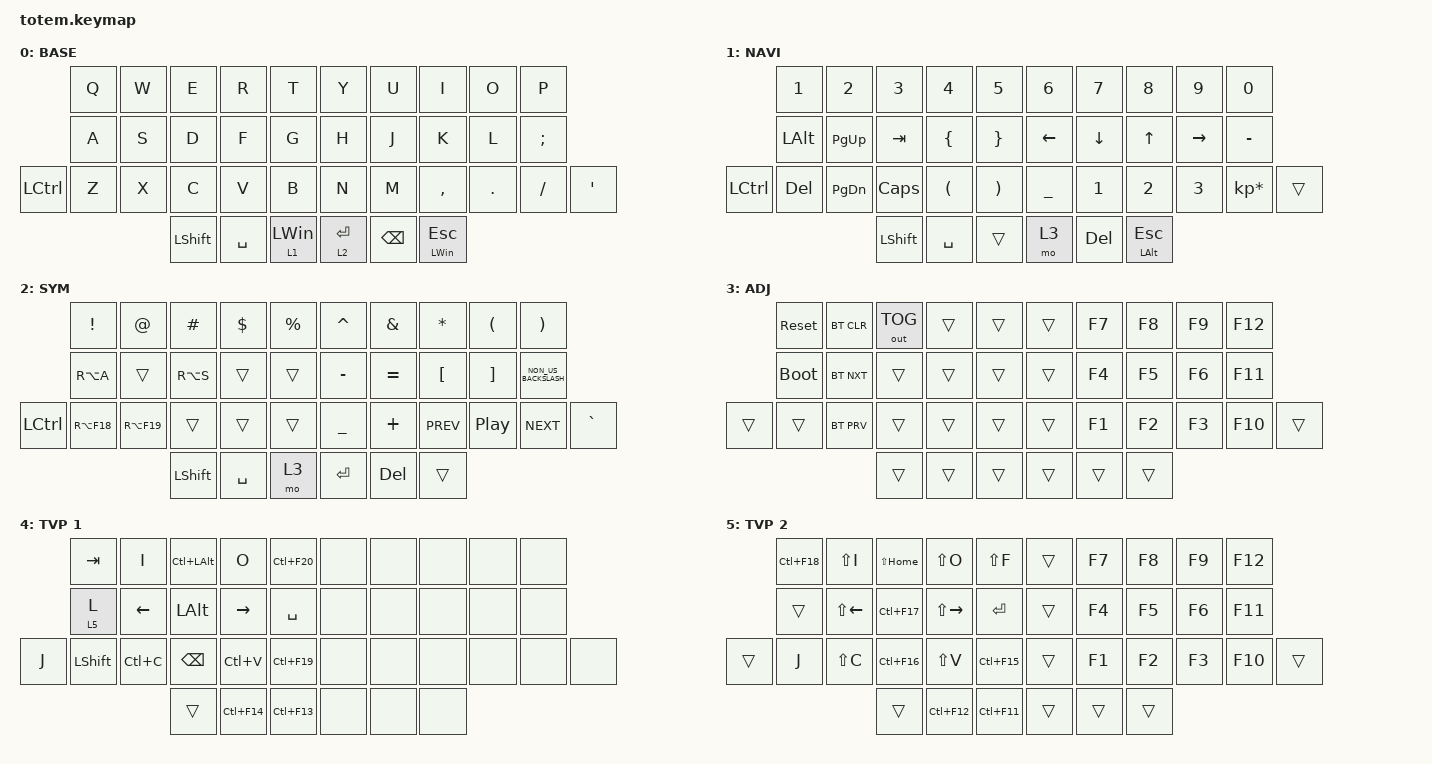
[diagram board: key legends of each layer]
//
//                                                        ▀▀▀▀▀     ▀▀▀▀▀          ▀▀█▀▀
//                                                        ▄▀▀▀▄  ▄  ▄▀▀▀▄  ▄  ▄▀▀▀▄  █  ▄▀▀▀▄
//                                                        █   █  █  █   █  █  █   █  █  █   █
//                                                         ▀▀▀   █   ▀▀▀   █   ▀▀▀   ▀   ▀▀▀
//                                                               █      ▄▄▄█▄▄▄    █   █  
//                                                               ▀      █  █  █     █▄█
//                                                             ▀▀▀▀▀    █  █  █      ▀
//                                                                      ▀  ▀  ▀
//
// ▄▄▄▄▄▄▄▄▄▄▄▄▄▄▄▄▄▄▄▄▄▄▄▄▄▄▄▄▄▄▄▄▄▄▄▄▄▄▄▄▄▄▄▄▄▄▄▄▄▄▄▄▄▄▄▄▄▄▄▄▄▄▄▄▄▄▄▄▄▄▄▄▄▄▄▄▄▄▄▄▄▄▄▄▄▄▄▄▄▄▄▄▄▄▄▄▄▄▄▄▄▄▄▄▄▄▄▄▄▄▄▄▄▄▄▄▄▄▄▄▄▄▄▄▄▄▄▄▄▄▄▄▄▄▄▄▄▄▄▄▄▄▄▄▄▄▄▄▄

#include <behaviors.dtsi>
#include <dt-bindings/zmk/bt.h>
#include <dt-bindings/zmk/keys.h>
#include <dt-bindings/zmk/outputs.h>

#define BASE 0
#define NAV  1
#define SYM  2
#define ADJ  3
#define TVP1 4
#define TVP2 5

&mt {
    quick-tap-ms = <100>;
    global-quick-tap;
    flavor = "tap-preferred";
    tapping-term-ms = <170>;
};

/ {
    combos {
        compatible = "zmk,combos";

        combo_esc {
            timeout-ms = <50>;
            key-positions = <0 1>;
            bindings = <&kp ESC>;
        };

        combo_tvp {
            timeout-ms = <100>;
            key-positions = <11 12 13>;
            bindings = <&tog 4>;
        };
    };

    macros {
        gif: gif {
            label = "giphy";
            compatible = "zmk,behavior-macro";
            #binding-cells = <0>;
            bindings =
                <&macro_press>,
                <&kp LSHFT>,
                <&macro_tap>,
                <&kp N2>,
                <&macro_release>,
                <&kp LSHFT>,
                <&macro_tap>,
                <&kp G &kp I &kp F>;
        };
    };

    keymap {
        compatible = "zmk,keymap";

        // ▄▄▄▄▄▄▄▄▄▄▄▄▄▄▄▄▄▄▄▄▄▄▄▄▄▄▄▄▄▄▄▄▄▄▄▄▄▄▄▄▄▄▄▄▄▄▄▄▄▄▄▄▄▄▄▄▄▄▄▄▄▄▄▄▄▄▄▄▄▄▄▄▄▄▄▄▄▄▄▄▄▄▄▄▄▄▄▄▄▄▄▄▄▄▄▄▄▄▄▄▄▄▄▄▄▄▄▄▄▄▄▄▄▄▄▄▄▄▄▄▄▄▄▄▄▄▄▄▄▄▄▄▄▄▄▄▄▄▄▄▄▄▄▄▄▄▄▄▄

        base_layer {
            // ┏━━━━━━━━━━━━━━━━━━━━━━━━━━━━━━━━━━━━━━━┓

            label = "BASE";

            // ┗━━━━━━━━━━━━━━━━━━━━━━━━━━━━━━━━━━━━━━━┛
            //             ┏━━━━━━━━━━━┳━━━━━━━━━━━┳━━━━━━━━━━━┳━━━━━━━━━━━┳━━━━━━━━━━━┓   ┏━━━━━━━━━━━┳━━━━━━━━━━━┳━━━━━━━━━━━┳━━━━━━━━━━━┳━━━━━━━━━━━┓
            //             ┃     Q     ┃     W     ┃     F     ┃     P     ┃     G     ┃   ┃     J     ┃     L     ┃     U     ┃     Y     ┃     ;     ┃
            //             ┣━━━━━━━━━━━╋━━━━━━━━━━━╋━━━━━━━━━━━╋━━━━━━━━━━━╋━━━━━━━━━━━┫   ┣━━━━━━━━━━━╋━━━━━━━━━━━╋━━━━━━━━━━━╋━━━━━━━━━━━╋━━━━━━━━━━━┫
            //             ┃     A     ┃     R     ┃     S     ┃     T     ┃     D     ┃   ┃     H     ┃     N     ┃     E     ┃     I     ┃     O     ┃
            // ┏━━━━━━━━━━━╋━━━━━━━━━━━╋━━━━━━━━━━━╋━━━━━━━━━━━╋━━━━━━━━━━━╋━━━━━━━━━━━┫   ┣━━━━━━━━━━━╋━━━━━━━━━━━╋━━━━━━━━━━━╋━━━━━━━━━━━╋━━━━━━━━━━━╋━━━━━━━━━━━┓
            // ┃     Q     ┃     Z     ┃     X     ┃     C     ┃     V     ┃     B     ┃   ┃     K     ┃     M     ┃     ,     ┃     .     ┃     /     ┃     \     ┃
            // ┗━━━━━━━━━━━┻━━━━━━━━━━━┻━━━━━━━━━━━╋━━━━━━━━━━━╋━━━━━━━━━━━╋━━━━━━━━━━━┫   ┣━━━━━━━━━━━╋━━━━━━━━━━━╋━━━━━━━━━━━╋━━━━━━━━━━━┻━━━━━━━━━━━┻━━━━━━━━━━━┛
            //                                     ┃    DEL    ┃    TAB    ┃    SPC    ┃   ┃   ENTER   ┃           ┃   BSPC    ┃
            //                                     ┗━━━━━━━━━━━┻━━━━━━━━━━━┻━━━━━━━━━━━┛   ┗━━━━━━━━━━━┻━━━━━━━━━━━┻━━━━━━━━━━━┛

            bindings = <
                  &kp Q  &kp W  &kp E           &kp R      &kp T             &kp Y        &kp U          &kp I                &kp O    &kp P
                  &kp A  &kp S  &kp D           &kp F      &kp G             &kp H        &kp J          &kp K                &kp L    &kp SEMICOLON
&kp LEFT_CONTROL  &kp Z  &kp X  &kp C           &kp V      &kp B             &kp N        &kp M          &kp COMMA            &kp DOT  &kp FSLH       &kp SQT
                                &kp LEFT_SHIFT  &kp SPACE  &lt 1 LEFT_WIN    &lt 2 ENTER  &kp BACKSPACE  &mt LEFT_WIN ESCAPE
            >;
        };

        // ▄▄▄▄▄▄▄▄▄▄▄▄▄▄▄▄▄▄▄▄▄▄▄▄▄▄▄▄▄▄▄▄▄▄▄▄▄▄▄▄▄▄▄▄▄▄▄▄▄▄▄▄▄▄▄▄▄▄▄▄▄▄▄▄▄▄▄▄▄▄▄▄▄▄▄▄▄▄▄▄▄▄▄▄▄▄▄▄▄▄▄▄▄▄▄▄▄▄▄▄▄▄▄▄▄▄▄▄▄▄▄▄▄▄▄▄▄▄▄▄▄▄▄▄▄▄▄▄▄▄▄▄▄▄▄▄▄▄▄▄▄▄▄▄▄▄▄▄▄

        nav_layer {
            // ┏━━━━━━━━━━━━━━━━━━━━━━━━━━━━━━━━━━━━━━━┓

            label = "NAVI";

            // ┗━━━━━━━━━━━━━━━━━━━━━━━━━━━━━━━━━━━━━━━┛
            //             ┏━━━━━━━━━━━┳━━━━━━━━━━━┳━━━━━━━━━━━┳━━━━━━━━━━━┳━━━━━━━━━━━┓   ┏━━━━━━━━━━━┳━━━━━━━━━━━┳━━━━━━━━━━━┳━━━━━━━━━━━┳━━━━━━━━━━━┓
            //             ┃           ┃           ┃     UP    ┃           ┃     {     ┃   ┃     }     ┃     7     ┃     8     ┃     9     ┃     +     ┃
            //             ┣━━━━━━━━━━━╋━━━━━━━━━━━╋━━━━━━━━━━━╋━━━━━━━━━━━╋━━━━━━━━━━━┫   ┣━━━━━━━━━━━╋━━━━━━━━━━━╋━━━━━━━━━━━╋━━━━━━━━━━━╋━━━━━━━━━━━┫
            //             ┃   SHIFT   ┃   LEFT    ┃    DOWN   ┃   RIGHT   ┃     [     ┃   ┃     ]     ┃     4     ┃     5     ┃     6     ┃     -     ┃
            // ┏━━━━━━━━━━━╋━━━━━━━━━━━╋━━━━━━━━━━━╋━━━━━━━━━━━╋━━━━━━━━━━━╋━━━━━━━━━━━┫   ┣━━━━━━━━━━━╋━━━━━━━━━━━╋━━━━━━━━━━━╋━━━━━━━━━━━╋━━━━━━━━━━━╋━━━━━━━━━━━┓
            // ┃           ┃           ┃   P UP    ┃  C LOCK   ┃  P DOWN   ┃     (     ┃   ┃     )     ┃     1     ┃     2     ┃     3     ┃     *     ┃           ┃
            // ┗━━━━━━━━━━━┻━━━━━━━━━━━┻━━━━━━━━━━━╋━━━━━━━━━━━╋━━━━━━━━━━━╋━━━━━━━━━━━┫   ┣━━━━━━━━━━━╋━━━━━━━━━━━╋━━━━━━━━━━━╋━━━━━━━━━━━┻━━━━━━━━━━━┻━━━━━━━━━━━┛
            //                                     ┃           ┃    TAB    ┃    SPC    ┃   ┃    DEL    ┃     0     ┃           ┃
            //                                     ┗━━━━━━━━━━━┻━━━━━━━━━━━┻━━━━━━━━━━━┛   ┗━━━━━━━━━━━┻━━━━━━━━━━━┻━━━━━━━━━━━┛

            bindings = <
                  &kp NUMBER_1  &kp NUMBER_2   &kp NUMBER_3    &kp NUMBER_4          &kp NUMBER_5             &kp NUMBER_6    &kp N7        &kp N8               &kp N9        &kp N0
                  &kp LEFT_ALT  &kp PG_UP      &kp TAB         &kp LEFT_BRACE        &kp RIGHT_BRACE          &kp LEFT_ARROW  &kp DOWN      &kp UP_ARROW         &kp RIGHT     &kp MINUS
&kp LEFT_CONTROL  &kp DEL       &kp PAGE_DOWN  &kp CAPS        &kp LEFT_PARENTHESIS  &kp RIGHT_PARENTHESIS    &kp UNDERSCORE  &kp NUMBER_1  &kp NUMBER_2         &kp NUMBER_3  &kp KP_MULTIPLY  &trans
                                               &kp LEFT_SHIFT  &kp SPACE             &trans                   &mo 3           &kp DELETE    &mt LEFT_ALT ESCAPE
            >;
        };

        // ▄▄▄▄▄▄▄▄▄▄▄▄▄▄▄▄▄▄▄▄▄▄▄▄▄▄▄▄▄▄▄▄▄▄▄▄▄▄▄▄▄▄▄▄▄▄▄▄▄▄▄▄▄▄▄▄▄▄▄▄▄▄▄▄▄▄▄▄▄▄▄▄▄▄▄▄▄▄▄▄▄▄▄▄▄▄▄▄▄▄▄▄▄▄▄▄▄▄▄▄▄▄▄▄▄▄▄▄▄▄▄▄▄▄▄▄▄▄▄▄▄▄▄▄▄▄▄▄▄▄▄▄▄▄▄▄▄▄▄▄▄▄▄▄▄▄▄▄▄

        sim_layer {
            // ┏━━━━━━━━━━━━━━━━━━━━━━━━━━━━━━━━━━━━━━━┓

            label = "SYM";

            // ┗━━━━━━━━━━━━━━━━━━━━━━━━━━━━━━━━━━━━━━━┛
            //             ┏━━━━━━━━━━━┳━━━━━━━━━━━┳━━━━━━━━━━━┳━━━━━━━━━━━┳━━━━━━━━━━━┓   ┏━━━━━━━━━━━┳━━━━━━━━━━━┳━━━━━━━━━━━┳━━━━━━━━━━━┳━━━━━━━━━━━┓
            //             ┃     !     ┃     @     ┃     #     ┃     $     ┃     %     ┃   ┃     ˆ     ┃     &     ┃     Ü     ┃     '     ┃     "     ┃
            //             ┣━━━━━━━━━━━╋━━━━━━━━━━━╋━━━━━━━━━━━╋━━━━━━━━━━━╋━━━━━━━━━━━┫   ┣━━━━━━━━━━━╋━━━━━━━━━━━╋━━━━━━━━━━━╋━━━━━━━━━━━╋━━━━━━━━━━━┫
            //             ┃     Ä     ┃           ┃    SZ     ┃           ┃           ┃   ┃   MUTE    ┃   YEN     ┃   EURO    ┃  POUND    ┃     Ö     ┃
            // ┏━━━━━━━━━━━╋━━━━━━━━━━━╋━━━━━━━━━━━╋━━━━━━━━━━━╋━━━━━━━━━━━╋━━━━━━━━━━━┫   ┣━━━━━━━━━━━╋━━━━━━━━━━━╋━━━━━━━━━━━╋━━━━━━━━━━━╋━━━━━━━━━━━╋━━━━━━━━━━━┓
            // ┃           ┃  EMAIL1   ┃  EMAIL2   ┃           ┃           ┃           ┃   ┃   VOL-    ┃   VOL+    ┃   LAST    ┃   NEXT    ┃     \     ┃           ┃
            // ┗━━━━━━━━━━━┻━━━━━━━━━━━┻━━━━━━━━━━━╋━━━━━━━━━━━╋━━━━━━━━━━━╋━━━━━━━━━━━┫   ┣━━━━━━━━━━━╋━━━━━━━━━━━╋━━━━━━━━━━━╋━━━━━━━━━━━┻━━━━━━━━━━━┻━━━━━━━━━━━┛
            //                                     ┃           ┃    GIF    ┃    ADJ    ┃   ┃           ┃           ┃           ┃
            //                                     ┗━━━━━━━━━━━┻━━━━━━━━━━━┻━━━━━━━━━━━┛   ┗━━━━━━━━━━━┻━━━━━━━━━━━┻━━━━━━━━━━━┛

            bindings = <
                  &kp EXCL     &kp AT       &kp HASH        &kp DLLR   &kp PRCNT    &kp CARET       &kp AMPS   &kp ASTERISK      &kp LEFT_PARENTHESIS  &kp RIGHT_PARENTHESIS
                  &kp RA(A)    &trans       &kp RA(S)       &trans     &trans       &kp MINUS       &kp EQUAL  &kp LEFT_BRACKET  &kp RIGHT_BRACKET     &kp NON_US_BACKSLASH
&kp LEFT_CONTROL  &kp RA(F18)  &kp RA(F19)  &trans          &trans     &trans       &kp UNDERSCORE  &kp PLUS   &kp C_PREV        &kp C_PLAY_PAUSE      &kp C_NEXT             &kp GRAVE
                                            &kp LEFT_SHIFT  &kp SPACE  &mo 3        &kp ENTER       &kp DEL    &trans
            >;
        };

        // ▄▄▄▄▄▄▄▄▄▄▄▄▄▄▄▄▄▄▄▄▄▄▄▄▄▄▄▄▄▄▄▄▄▄▄▄▄▄▄▄▄▄▄▄▄▄▄▄▄▄▄▄▄▄▄▄▄▄▄▄▄▄▄▄▄▄▄▄▄▄▄▄▄▄▄▄▄▄▄▄▄▄▄▄▄▄▄▄▄▄▄▄▄▄▄▄▄▄▄▄▄▄▄▄▄▄▄▄▄▄▄▄▄▄▄▄▄▄▄▄▄▄▄▄▄▄▄▄▄▄▄▄▄▄▄▄▄▄▄▄▄▄▄▄▄▄▄▄▄

        adjust_layer {
            // ┏━━━━━━━━━━━━━━━━━━━━━━━━━━━━━━━━━━━━━━━┓

            label = "ADJ";

            // ┗━━━━━━━━━━━━━━━━━━━━━━━━━━━━━━━━━━━━━━━┛
            //             ┏━━━━━━━━━━━┳━━━━━━━━━━━┳━━━━━━━━━━━┳━━━━━━━━━━━┳━━━━━━━━━━━┓   ┏━━━━━━━━━━━┳━━━━━━━━━━━┳━━━━━━━━━━━┳━━━━━━━━━━━┳━━━━━━━━━━━┓
            //             ┃   RESET   ┃ BT CLEAR  ┃  OUT TOG  ┃           ┃           ┃   ┃           ┃    F7     ┃    F8     ┃    F9     ┃    F12    ┃
            //             ┣━━━━━━━━━━━╋━━━━━━━━━━━╋━━━━━━━━━━━╋━━━━━━━━━━━╋━━━━━━━━━━━┫   ┣━━━━━━━━━━━╋━━━━━━━━━━━╋━━━━━━━━━━━╋━━━━━━━━━━━╋━━━━━━━━━━━┫
            //             ┃ BOOTLOAD  ┃ BT NEXT   ┃           ┃           ┃           ┃   ┃           ┃    F4     ┃    F5     ┃    F6     ┃    F11    ┃
            // ┏━━━━━━━━━━━╋━━━━━━━━━━━╋━━━━━━━━━━━╋━━━━━━━━━━━╋━━━━━━━━━━━╋━━━━━━━━━━━┫   ┣━━━━━━━━━━━╋━━━━━━━━━━━╋━━━━━━━━━━━╋━━━━━━━━━━━╋━━━━━━━━━━━╋━━━━━━━━━━━┓
            // ┃           ┃           ┃ BT PREV   ┃           ┃           ┃           ┃   ┃           ┃    F1     ┃    F2     ┃    F3     ┃    F10    ┃           ┃
            // ┗━━━━━━━━━━━┻━━━━━━━━━━━┻━━━━━━━━━━━╋━━━━━━━━━━━╋━━━━━━━━━━━╋━━━━━━━━━━━┫   ┣━━━━━━━━━━━╋━━━━━━━━━━━╋━━━━━━━━━━━╋━━━━━━━━━━━┻━━━━━━━━━━━┻━━━━━━━━━━━┛
            //                                     ┃           ┃           ┃           ┃   ┃           ┃           ┃           ┃
            //                                     ┗━━━━━━━━━━━┻━━━━━━━━━━━┻━━━━━━━━━━━┛   ┗━━━━━━━━━━━┻━━━━━━━━━━━┻━━━━━━━━━━━┛

            bindings = <
        &sys_reset   &bt BT_CLR  &out OUT_TOG  &trans  &trans    &trans  &kp F7  &kp F8  &kp F9  &kp F12
        &bootloader  &bt BT_NXT  &trans        &trans  &trans    &trans  &kp F4  &kp F5  &kp F6  &kp F11
&trans  &trans       &bt BT_PRV  &trans        &trans  &trans    &trans  &kp F1  &kp F2  &kp F3  &kp F10  &trans
                                 &trans        &trans  &trans    &trans  &trans  &trans
            >;
        };

        // ▄▄▄▄▄▄▄▄▄▄▄▄▄▄▄▄▄▄▄▄▄▄▄▄▄▄▄▄▄▄▄▄▄▄▄▄▄▄▄▄▄▄▄▄▄▄▄▄▄▄▄▄▄▄▄▄▄▄▄▄▄▄▄▄▄▄▄▄▄▄▄▄▄▄▄▄▄▄▄▄▄▄▄▄▄▄▄▄▄▄▄▄▄▄▄▄▄▄▄▄▄▄▄▄▄▄▄▄▄▄▄▄▄▄▄▄▄▄▄▄▄▄▄▄▄▄▄▄▄▄▄▄▄▄▄▄▄▄▄▄▄▄▄▄▄▄▄▄▄

        tvp1_layer {
            // ┏━━━━━━━━━━━━━━━━━━━━━━━━━━━━━━━━━━━━━━━┓

            label = "TVP 1";

            // ┗━━━━━━━━━━━━━━━━━━━━━━━━━━━━━━━━━━━━━━━┛
            //             ┏━━━━━━━━━━━┳━━━━━━━━━━━┳━━━━━━━━━━━┳━━━━━━━━━━━┳━━━━━━━━━━━┓   ┏━━━━━━━━━━━┳━━━━━━━━━━━┳━━━━━━━━━━━┳━━━━━━━━━━━┳━━━━━━━━━━━┓
            //             ┃ NEXT FILE ┃ MARK IN   ┃ ROTATE    ┃ MARK OUT  ┃ SHOW SNAP ┃   ┃           ┃           ┃           ┃           ┃           ┃
            //             ┣━━━━━━━━━━━╋━━━━━━━━━━━╋━━━━━━━━━━━╋━━━━━━━━━━━╋━━━━━━━━━━━┫   ┣━━━━━━━━━━━╋━━━━━━━━━━━╋━━━━━━━━━━━╋━━━━━━━━━━━╋━━━━━━━━━━━┫
            //             ┃ TVP II    ┃ LEFT      ┃ PAN       ┃ RIGHT     ┃ PLAY/FLIP ┃   ┃           ┃           ┃           ┃           ┃           ┃
            // ┏━━━━━━━━━━━╋━━━━━━━━━━━╋━━━━━━━━━━━╋━━━━━━━━━━━╋━━━━━━━━━━━╋━━━━━━━━━━━┫   ┣━━━━━━━━━━━╋━━━━━━━━━━━╋━━━━━━━━━━━╋━━━━━━━━━━━╋━━━━━━━━━━━╋━━━━━━━━━━━┓
            // ┃ FULLSCR   ┃ SHIFT     ┃ COPY      ┃ DELETE    ┃ PASTE     ┃ IMG MARK  ┃   ┃           ┃           ┃           ┃           ┃           ┃           ┃
            // ┗━━━━━━━━━━━┻━━━━━━━━━━━┻━━━━━━━━━━━╋━━━━━━━━━━━╋━━━━━━━━━━━╋━━━━━━━━━━━┫   ┣━━━━━━━━━━━╋━━━━━━━━━━━╋━━━━━━━━━━━╋━━━━━━━━━━━┻━━━━━━━━━━━┻━━━━━━━━━━━┛
            //                                     ┃           ┃ UNDO/SAVE ┃  SEL/MOV  ┃   ┃           ┃           ┃           ┃
            //                                     ┗━━━━━━━━━━━┻━━━━━━━━━━━┻━━━━━━━━━━━┛   ┗━━━━━━━━━━━┻━━━━━━━━━━━┻━━━━━━━━━━━┛

            bindings = <
       &kp TAB    &kp I      &kp LC(LALT)  &kp O        &kp LC(F20)    &none  &none  &none  &none  &none
       &lt 5 L    &kp LEFT   &kp LALT      &kp RIGHT    &kp SPACE      &none  &none  &none  &none  &none
&kp J  &kp LSHFT  &kp LC(C)  &kp BSPC      &kp LC(V)    &kp LC(F19)    &none  &none  &none  &none  &none  &none
                             &trans        &kp LC(F14)  &kp LC(F13)    &none  &none  &none
            >;
        };

        // ▄▄▄▄▄▄▄▄▄▄▄▄▄▄▄▄▄▄▄▄▄▄▄▄▄▄▄▄▄▄▄▄▄▄▄▄▄▄▄▄▄▄▄▄▄▄▄▄▄▄▄▄▄▄▄▄▄▄▄▄▄▄▄▄▄▄▄▄▄▄▄▄▄▄▄▄▄▄▄▄▄▄▄▄▄▄▄▄▄▄▄▄▄▄▄▄▄▄▄▄▄▄▄▄▄▄▄▄▄▄▄▄▄▄▄▄▄▄▄▄▄▄▄▄▄▄▄▄▄▄▄▄▄▄▄▄▄▄▄▄▄▄▄▄▄▄▄▄▄

        tvp2_layer {
            // ┏━━━━━━━━━━━━━━━━━━━━━━━━━━━━━━━━━━━━━━━┓

            label = "TVP 2";

            // ┗━━━━━━━━━━━━━━━━━━━━━━━━━━━━━━━━━━━━━━━┛
            //             ┏━━━━━━━━━━━┳━━━━━━━━━━━┳━━━━━━━━━━━┳━━━━━━━━━━━┳━━━━━━━━━━━┓   ┏━━━━━━━━━━━┳━━━━━━━━━━━┳━━━━━━━━━━━┳━━━━━━━━━━━┳━━━━━━━━━━━┓
            //             ┃ SOLO      ┃ TOGGLE IN ┃ RESET ROT ┃ TOGGLE OUT┃ TAKE SNAP ┃   ┃           ┃           ┃           ┃           ┃           ┃
            //             ┣━━━━━━━━━━━╋━━━━━━━━━━━╋━━━━━━━━━━━╋━━━━━━━━━━━╋━━━━━━━━━━━┫   ┣━━━━━━━━━━━╋━━━━━━━━━━━╋━━━━━━━━━━━╋━━━━━━━━━━━╋━━━━━━━━━━━┫
            //             ┃ ---       ┃ LAST KEY  ┃ NEW KEY   ┃ NEXT KEY  ┃ ENTER     ┃   ┃           ┃           ┃           ┃           ┃           ┃
            // ┏━━━━━━━━━━━╋━━━━━━━━━━━╋━━━━━━━━━━━╋━━━━━━━━━━━╋━━━━━━━━━━━╋━━━━━━━━━━━┫   ┣━━━━━━━━━━━╋━━━━━━━━━━━╋━━━━━━━━━━━╋━━━━━━━━━━━╋━━━━━━━━━━━╋━━━━━━━━━━━┓
            // ┃           ┃ FULLSCR   ┃ CPY2BRUSH ┃ DEL HEAD  ┃ PSTinPLACE┃ BOOK MARK ┃   ┃           ┃           ┃           ┃           ┃           ┃           ┃
            // ┗━━━━━━━━━━━┻━━━━━━━━━━━┻━━━━━━━━━━━╋━━━━━━━━━━━╋━━━━━━━━━━━╋━━━━━━━━━━━┫   ┣━━━━━━━━━━━╋━━━━━━━━━━━╋━━━━━━━━━━━╋━━━━━━━━━━━┻━━━━━━━━━━━┻━━━━━━━━━━━┛
            //                                     ┃           ┃ REDO/SAV1 ┃TRANS/WARP ┃   ┃           ┃           ┃           ┃
            //                                     ┗━━━━━━━━━━━┻━━━━━━━━━━━┻━━━━━━━━━━━┛   ┗━━━━━━━━━━━┻━━━━━━━━━━━┻━━━━━━━━━━━┛

            bindings = <
        &kp LC(F18)  &kp LS(I)     &kp LS(HOME)  &kp LS(O)      &kp LS(F)      &trans  &kp F7  &kp F8  &kp F9  &kp F12
        &trans       &kp LS(LEFT)  &kp LC(F17)   &kp LS(RIGHT)  &kp RET        &trans  &kp F4  &kp F5  &kp F6  &kp F11
&trans  &kp J        &kp LS(C)     &kp LC(F16)   &kp LS(V)      &kp LC(F15)    &trans  &kp F1  &kp F2  &kp F3  &kp F10  &trans
                                   &trans        &kp LC(F12)    &kp LC(F11)    &trans  &trans  &trans
            >;
        };
    };
};
